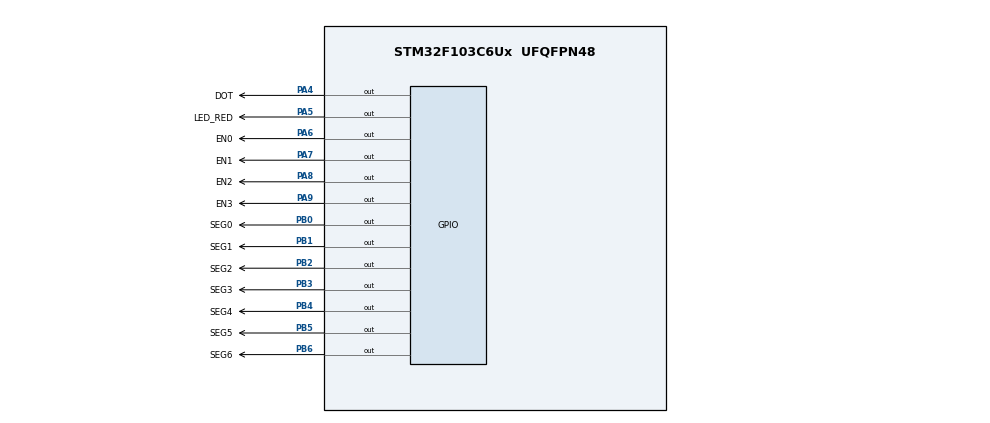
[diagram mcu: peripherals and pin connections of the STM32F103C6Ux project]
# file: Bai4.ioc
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Mcu.Family=STM32F1
Mcu.Name=STM32F103C6Ux
Mcu.Package=UFQFPN48
NVIC.PriorityGroup=NVIC_PRIORITYGROUP_4
NVIC.TIM2_IRQn=true\:0\:0\:false\:false\:true\:true\:true\:true
PA4.GPIO_Label=DOT
PA4.Signal=GPIO_Output
PA5.GPIO_Label=LED_RED
PA5.Signal=GPIO_Output
PA6.GPIO_Label=EN0
PA6.Signal=GPIO_Output
PA7.GPIO_Label=EN1
PA7.Signal=GPIO_Output
PA8.GPIO_Label=EN2
PA8.Signal=GPIO_Output
PA9.GPIO_Label=EN3
PA9.Signal=GPIO_Output
PB0.GPIO_Label=SEG0
PB0.Signal=GPIO_Output
PB1.GPIO_Label=SEG1
PB1.Signal=GPIO_Output
PB2.GPIO_Label=SEG2
PB2.Signal=GPIO_Output
PB3.GPIO_Label=SEG3
PB3.Signal=GPIO_Output
PB4.GPIO_Label=SEG4
PB4.Signal=GPIO_Output
PB5.GPIO_Label=SEG5
PB5.Signal=GPIO_Output
PB6.GPIO_Label=SEG6
PB6.Signal=GPIO_Output
ProjectManager.HeapSize=0x200
ProjectManager.StackSize=0x400
ProjectManager.TargetToolchain=STM32CubeIDE
RCC.APB1Freq_Value=8000000
RCC.APB2Freq_Value=8000000
TIM2.Period=9
TIM2.Prescaler=7999
VP_SYS_VS_ND.Mode=No_Debug
VP_TIM2_VS_ClockSourceINT.Mode=Internal
board=custom

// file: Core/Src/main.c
/* USER CODE BEGIN Header */
/**
 ******************************************************************************
 * @file           : main.c
 * @brief          : Main program body
 ******************************************************************************
 * @attention
 *
 * Copyright (c) 2022 STMicroelectronics.
 * All rights reserved.
 *
 * This software is licensed under terms that can be found in the LICENSE file
 * in the root directory of this software component.
 * If no LICENSE file comes with this software, it is provided AS-IS.
 *
 ******************************************************************************
 */
/* USER CODE END Header */
#include "main.h"

TIM_HandleTypeDef htim2;

void SystemClock_Config(void);
static void MX_GPIO_Init(void);
static void MX_TIM2_Init(void);

/* USER CODE BEGIN 0 */
void display7SEG(int num) {
	//num is the time displayed on the 7-segment led
	if (num == 0) {
		HAL_GPIO_WritePin(SEG0_GPIO_Port, SEG0_Pin, 0);
		HAL_GPIO_WritePin(SEG1_GPIO_Port, SEG1_Pin, 0);
		HAL_GPIO_WritePin(SEG2_GPIO_Port, SEG2_Pin, 0);
		HAL_GPIO_WritePin(SEG3_GPIO_Port, SEG3_Pin, 0);
		HAL_GPIO_WritePin(SEG4_GPIO_Port, SEG4_Pin, 0);
		HAL_GPIO_WritePin(SEG5_GPIO_Port, SEG5_Pin, 0);
		HAL_GPIO_WritePin(SEG6_GPIO_Port, SEG6_Pin, 1);
	}
	if (num == 1) {
		HAL_GPIO_WritePin(SEG0_GPIO_Port, SEG0_Pin, 1);
		HAL_GPIO_WritePin(SEG1_GPIO_Port, SEG1_Pin, 0);
		HAL_GPIO_WritePin(SEG2_GPIO_Port, SEG2_Pin, 0);
		HAL_GPIO_WritePin(SEG3_GPIO_Port, SEG3_Pin, 1);
		HAL_GPIO_WritePin(SEG4_GPIO_Port, SEG4_Pin, 1);
		HAL_GPIO_WritePin(SEG5_GPIO_Port, SEG5_Pin, 1);
		HAL_GPIO_WritePin(SEG6_GPIO_Port, SEG6_Pin, 1);
	}
	if (num == 2) {
		HAL_GPIO_WritePin(SEG0_GPIO_Port, SEG0_Pin, 0);
		HAL_GPIO_WritePin(SEG1_GPIO_Port, SEG1_Pin, 0);
		HAL_GPIO_WritePin(SEG2_GPIO_Port, SEG2_Pin, 1);
		HAL_GPIO_WritePin(SEG3_GPIO_Port, SEG3_Pin, 0);
		HAL_GPIO_WritePin(SEG4_GPIO_Port, SEG4_Pin, 0);
		HAL_GPIO_WritePin(SEG5_GPIO_Port, SEG5_Pin, 1);
		HAL_GPIO_WritePin(SEG6_GPIO_Port, SEG6_Pin, 0);
	}
	if (num == 3) {
		HAL_GPIO_WritePin(SEG0_GPIO_Port, SEG0_Pin, 0);
		HAL_GPIO_WritePin(SEG1_GPIO_Port, SEG1_Pin, 0);
		HAL_GPIO_WritePin(SEG2_GPIO_Port, SEG2_Pin, 0);
		HAL_GPIO_WritePin(SEG3_GPIO_Port, SEG3_Pin, 0);
		HAL_GPIO_WritePin(SEG4_GPIO_Port, SEG4_Pin, 1);
		HAL_GPIO_WritePin(SEG5_GPIO_Port, SEG5_Pin, 1);
		HAL_GPIO_WritePin(SEG6_GPIO_Port, SEG6_Pin, 0);
	}
	if (num == 4) {
		HAL_GPIO_WritePin(SEG0_GPIO_Port, SEG0_Pin, 1);
		HAL_GPIO_WritePin(SEG1_GPIO_Port, SEG1_Pin, 0);
		HAL_GPIO_WritePin(SEG2_GPIO_Port, SEG2_Pin, 0);
		HAL_GPIO_WritePin(SEG3_GPIO_Port, SEG3_Pin, 1);
		HAL_GPIO_WritePin(SEG4_GPIO_Port, SEG4_Pin, 1);
		HAL_GPIO_WritePin(SEG5_GPIO_Port, SEG5_Pin, 0);
		HAL_GPIO_WritePin(SEG6_GPIO_Port, SEG6_Pin, 0);
	}
	if (num == 5) {
		HAL_GPIO_WritePin(SEG0_GPIO_Port, SEG0_Pin, 0);
		HAL_GPIO_WritePin(SEG1_GPIO_Port, SEG1_Pin, 1);
		HAL_GPIO_WritePin(SEG2_GPIO_Port, SEG2_Pin, 0);
		HAL_GPIO_WritePin(SEG3_GPIO_Port, SEG3_Pin, 0);
		HAL_GPIO_WritePin(SEG4_GPIO_Port, SEG4_Pin, 1);
		HAL_GPIO_WritePin(SEG5_GPIO_Port, SEG5_Pin, 0);
		HAL_GPIO_WritePin(SEG6_GPIO_Port, SEG6_Pin, 0);
	}
	if (num == 6) {
		HAL_GPIO_WritePin(SEG0_GPIO_Port, SEG0_Pin, 0);
		HAL_GPIO_WritePin(SEG1_GPIO_Port, SEG1_Pin, 1);
		HAL_GPIO_WritePin(SEG2_GPIO_Port, SEG2_Pin, 0);
		HAL_GPIO_WritePin(SEG3_GPIO_Port, SEG3_Pin, 0);
		HAL_GPIO_WritePin(SEG4_GPIO_Port, SEG4_Pin, 0);
		HAL_GPIO_WritePin(SEG5_GPIO_Port, SEG5_Pin, 0);
		HAL_GPIO_WritePin(SEG6_GPIO_Port, SEG6_Pin, 0);
	}
	if (num == 7) {
		HAL_GPIO_WritePin(SEG0_GPIO_Port, SEG0_Pin, 0);
		HAL_GPIO_WritePin(SEG1_GPIO_Port, SEG1_Pin, 0);
		HAL_GPIO_WritePin(SEG2_GPIO_Port, SEG2_Pin, 0);
		HAL_GPIO_WritePin(SEG3_GPIO_Port, SEG3_Pin, 1);
		HAL_GPIO_WritePin(SEG4_GPIO_Port, SEG4_Pin, 1);
		HAL_GPIO_WritePin(SEG5_GPIO_Port, SEG5_Pin, 1);
		HAL_GPIO_WritePin(SEG6_GPIO_Port, SEG6_Pin, 1);
	}
	if (num == 8) {
		HAL_GPIO_WritePin(SEG0_GPIO_Port, SEG0_Pin, 0);
		HAL_GPIO_WritePin(SEG1_GPIO_Port, SEG1_Pin, 0);
		HAL_GPIO_WritePin(SEG2_GPIO_Port, SEG2_Pin, 0);
		HAL_GPIO_WritePin(SEG3_GPIO_Port, SEG3_Pin, 0);
		HAL_GPIO_WritePin(SEG4_GPIO_Port, SEG4_Pin, 0);
		HAL_GPIO_WritePin(SEG5_GPIO_Port, SEG5_Pin, 0);
		HAL_GPIO_WritePin(SEG6_GPIO_Port, SEG6_Pin, 0);
	}
	if (num == 9) {
		HAL_GPIO_WritePin(SEG0_GPIO_Port, SEG0_Pin, 0);
		HAL_GPIO_WritePin(SEG1_GPIO_Port, SEG1_Pin, 0);
		HAL_GPIO_WritePin(SEG2_GPIO_Port, SEG2_Pin, 0);
		HAL_GPIO_WritePin(SEG3_GPIO_Port, SEG3_Pin, 0);
		HAL_GPIO_WritePin(SEG4_GPIO_Port, SEG4_Pin, 1);
		HAL_GPIO_WritePin(SEG5_GPIO_Port, SEG5_Pin, 0);
		HAL_GPIO_WritePin(SEG6_GPIO_Port, SEG6_Pin, 0);
	}
}

const int MAX_LED = 4;
int led_buffer[4] = { 2, 8, 0, 5 };
void update7SEG(int index) {
	switch (index) {
	case 0:
		//Display the first 7SEG with led_buffer[0]
		HAL_GPIO_WritePin(EN0_GPIO_Port, EN0_Pin, 0);
		HAL_GPIO_WritePin(EN1_GPIO_Port, EN1_Pin, 1);
		HAL_GPIO_WritePin(EN2_GPIO_Port, EN2_Pin, 1);
		HAL_GPIO_WritePin(EN3_GPIO_Port, EN3_Pin, 1);
		display7SEG(led_buffer[0]);

		break;
	case 1:
		//Display the second 7SEG with led_buffer[1]
		HAL_GPIO_WritePin(EN0_GPIO_Port, EN0_Pin, 1);
		HAL_GPIO_WritePin(EN1_GPIO_Port, EN1_Pin, 0);
		HAL_GPIO_WritePin(EN2_GPIO_Port, EN2_Pin, 1);
		HAL_GPIO_WritePin(EN3_GPIO_Port, EN3_Pin, 1);
		display7SEG(led_buffer[1]);
		break;
	case 2:
		//Display the third 7SEG with led_buffer[2]
		HAL_GPIO_WritePin(EN0_GPIO_Port, EN0_Pin, 1);
		HAL_GPIO_WritePin(EN1_GPIO_Port, EN1_Pin, 1);
		HAL_GPIO_WritePin(EN2_GPIO_Port, EN2_Pin, 0);
		HAL_GPIO_WritePin(EN3_GPIO_Port, EN3_Pin, 1);
		display7SEG(led_buffer[2]);
		break;
	case 3:
		//Display the forth 7SEG with led_buffer[3]
		HAL_GPIO_WritePin(EN0_GPIO_Port, EN0_Pin, 1);
		HAL_GPIO_WritePin(EN1_GPIO_Port, EN1_Pin, 1);
		HAL_GPIO_WritePin(EN2_GPIO_Port, EN2_Pin, 1);
		HAL_GPIO_WritePin(EN3_GPIO_Port, EN3_Pin, 0);
		display7SEG(led_buffer[3]);
		break;
	default:
		break;
	}
}
/* USER CODE END 0 */

int main(void)
{

  /* MCU Configuration--------------------------------------------------------*/

  /* Reset of all peripherals, Initializes the Flash interface and the Systick. */
  HAL_Init();

  /* Configure the system clock */
  SystemClock_Config();

  /* Initialize all configured peripherals */
  MX_GPIO_Init();
  MX_TIM2_Init();
  /* USER CODE BEGIN 2 */
	HAL_TIM_Base_Start_IT(&htim2);
  /* USER CODE END 2 */

  /* Infinite loop */
	while (1) {

	}
}

void SystemClock_Config(void)
{
  RCC_OscInitTypeDef RCC_OscInitStruct = {0};
  RCC_ClkInitTypeDef RCC_ClkInitStruct = {0};

  /** Initializes the RCC Oscillators according to the specified parameters
  * in the RCC_OscInitTypeDef structure.
  */
  RCC_OscInitStruct.OscillatorType = RCC_OSCILLATORTYPE_HSI;
  RCC_OscInitStruct.HSIState = RCC_HSI_ON;
  RCC_OscInitStruct.HSICalibrationValue = RCC_HSICALIBRATION_DEFAULT;
  RCC_OscInitStruct.PLL.PLLState = RCC_PLL_NONE;
  if (HAL_RCC_OscConfig(&RCC_OscInitStruct) != HAL_OK)
  {
    Error_Handler();
  }

  /** Initializes the CPU, AHB and APB buses clocks
  */
  RCC_ClkInitStruct.ClockType = RCC_CLOCKTYPE_HCLK|RCC_CLOCKTYPE_SYSCLK
                              |RCC_CLOCKTYPE_PCLK1|RCC_CLOCKTYPE_PCLK2;
  RCC_ClkInitStruct.SYSCLKSource = RCC_SYSCLKSOURCE_HSI;
  RCC_ClkInitStruct.AHBCLKDivider = RCC_SYSCLK_DIV1;
  RCC_ClkInitStruct.APB1CLKDivider = RCC_HCLK_DIV1;
  RCC_ClkInitStruct.APB2CLKDivider = RCC_HCLK_DIV1;

  if (HAL_RCC_ClockConfig(&RCC_ClkInitStruct, FLASH_LATENCY_0) != HAL_OK)
  {
    Error_Handler();
  }
}

static void MX_TIM2_Init(void)
{

  TIM_ClockConfigTypeDef sClockSourceConfig = {0};
  TIM_MasterConfigTypeDef sMasterConfig = {0};

  htim2.Instance = TIM2;
  htim2.Init.Prescaler = 7999;
  htim2.Init.CounterMode = TIM_COUNTERMODE_UP;
  htim2.Init.Period = 9;
  htim2.Init.ClockDivision = TIM_CLOCKDIVISION_DIV1;
  htim2.Init.AutoReloadPreload = TIM_AUTORELOAD_PRELOAD_DISABLE;
  if (HAL_TIM_Base_Init(&htim2) != HAL_OK)
  {
    Error_Handler();
  }
  sClockSourceConfig.ClockSource = TIM_CLOCKSOURCE_INTERNAL;
  if (HAL_TIM_ConfigClockSource(&htim2, &sClockSourceConfig) != HAL_OK)
  {
    Error_Handler();
  }
  sMasterConfig.MasterOutputTrigger = TIM_TRGO_RESET;
  sMasterConfig.MasterSlaveMode = TIM_MASTERSLAVEMODE_DISABLE;
  if (HAL_TIMEx_MasterConfigSynchronization(&htim2, &sMasterConfig) != HAL_OK)
  {
    Error_Handler();
  }

}

static void MX_GPIO_Init(void)
{
  GPIO_InitTypeDef GPIO_InitStruct = {0};

  /* GPIO Ports Clock Enable */
  __HAL_RCC_GPIOA_CLK_ENABLE();
  __HAL_RCC_GPIOB_CLK_ENABLE();

  /*Configure GPIO pin Output Level */
  HAL_GPIO_WritePin(GPIOA, DOT_Pin|LED_RED_Pin|EN0_Pin|EN1_Pin
                          |EN2_Pin|EN3_Pin, GPIO_PIN_RESET);

  /*Configure GPIO pin Output Level */
  HAL_GPIO_WritePin(GPIOB, SEG0_Pin|SEG1_Pin|SEG2_Pin|SEG3_Pin
                          |SEG4_Pin|SEG5_Pin|SEG6_Pin, GPIO_PIN_RESET);

  /*Configure GPIO pins : DOT_Pin LED_RED_Pin EN0_Pin EN1_Pin
                           EN2_Pin EN3_Pin */
  GPIO_InitStruct.Pin = DOT_Pin|LED_RED_Pin|EN0_Pin|EN1_Pin
                          |EN2_Pin|EN3_Pin;
  GPIO_InitStruct.Mode = GPIO_MODE_OUTPUT_PP;
  GPIO_InitStruct.Pull = GPIO_NOPULL;
  GPIO_InitStruct.Speed = GPIO_SPEED_FREQ_LOW;
  HAL_GPIO_Init(GPIOA, &GPIO_InitStruct);

  /*Configure GPIO pins : SEG0_Pin SEG1_Pin SEG2_Pin SEG3_Pin
                           SEG4_Pin SEG5_Pin SEG6_Pin */
  GPIO_InitStruct.Pin = SEG0_Pin|SEG1_Pin|SEG2_Pin|SEG3_Pin
                          |SEG4_Pin|SEG5_Pin|SEG6_Pin;
  GPIO_InitStruct.Mode = GPIO_MODE_OUTPUT_PP;
  GPIO_InitStruct.Pull = GPIO_NOPULL;
  GPIO_InitStruct.Speed = GPIO_SPEED_FREQ_LOW;
  HAL_GPIO_Init(GPIOB, &GPIO_InitStruct);

}

/* USER CODE BEGIN 4 */
int count7SEG = 25;
int countLED = 100;
int index_led = 0;
void HAL_TIM_PeriodElapsedCallback(TIM_HandleTypeDef *htim) {
	if (count7SEG == 0) {
		count7SEG = 25;
	}
	if (countLED == 0) {
		countLED = 100;
	}
	if (index_led > 3) {
		index_led = 0;
	}
	//update value of LED7SEG every 0.25s
	if (count7SEG == 25) {
		update7SEG(index_led++);
	}
	//update value of two LEDs and red led every second
	if (countLED == 100) {
		HAL_GPIO_TogglePin(DOT_GPIO_Port, DOT_Pin);
		HAL_GPIO_TogglePin(LED_RED_GPIO_Port, LED_RED_Pin);
	}

	count7SEG--;
	countLED--;
}
/* USER CODE END 4 */

void Error_Handler(void)
{
	__disable_irq();
	while (1) {
	}
}
